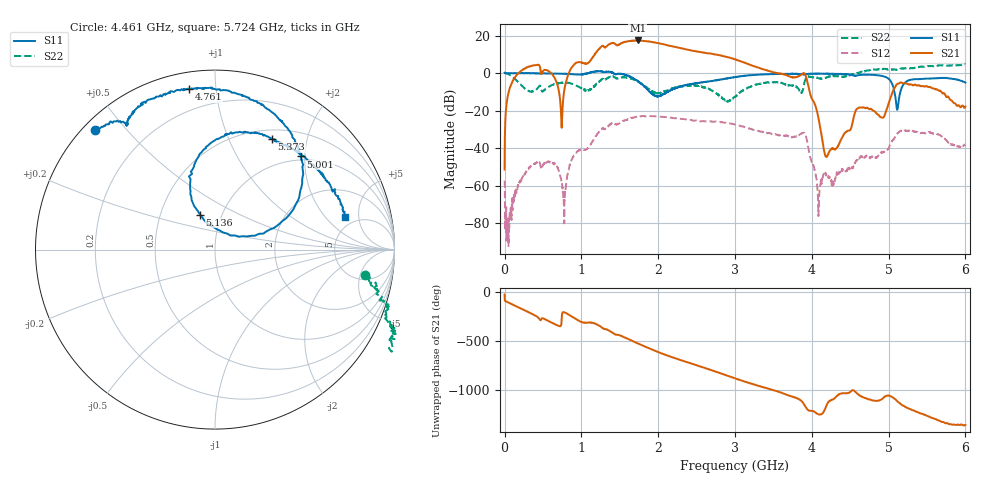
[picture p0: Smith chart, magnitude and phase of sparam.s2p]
#  HZ  S  DB  R  50.0
! Rohde & Schwarz ZVL
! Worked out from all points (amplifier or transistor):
!   2001 points, 9 kHz to 6 GHz, reference 50 ohm
!   highest |S21| = 17.5 dB at 1.734 GHz (marker M1)
!   |S21| within 3 dB of that: 1.331 GHz to 2.165 GHz (834.2 MHz wide, 47.7 % of centre)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
!   unconditionally stable (mu >= 1): 451.6 MHz to 517.7 MHz; 528.3 MHz to 1.061 GHz; 1.809 GHz to 4.578 GHz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
!   at 999 MHz: K = 3.68, MAG = 14.8 dB, |S12| = -40.9 dB
!   at 3 GHz: K = 1.80, MAG = 12.2 dB, |S12| = -27.4 dB
!   at 6 GHz: K = -425.83, MSG = 10.2 dB, |S12| = -38.2 dB
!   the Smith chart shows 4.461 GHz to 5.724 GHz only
!   S11 on the Smith chart (normalised r, x): 4.461 GHz: 0.03, +0.41; 4.761 GHz: 0.09, +0.85; 5.001 GHz: 0.93, +1.92; 5.136 GHz: 0.79, +0.32; 5.373 GHz: 0.61, +1.46; 5.724 GHz: 4.06, +3.29
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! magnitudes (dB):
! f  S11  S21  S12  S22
! 9 kHz  0.3  -51.3  -57.3  0.3
! 48.01 MHz  0.0  -10.8  -78.1  -0.4
! 171 MHz  0.0  -0.4  -59.7  -4.5
! 582 MHz  -0.2  0.9  -47.5  -7.0
! 741 MHz  -0.2  -28.1  -58.9  -5.0
! 783 MHz  -0.4  -7.7  -68.1  -5.0
! 846 MHz  -0.4  1.0  -48.9  -5.2
! 1.002 GHz  -0.8  5.9  -40.9  -7.8
! 1.734 GHz  -4.0  17.5  -23.2  -4.3
! 2.001 GHz  -12.4  16.0  -23.1  -10.7
! 3 GHz  -2.1  7.4  -27.4  -12.5
! 3.891 GHz  -0.6  0.0  -31.8  -7.6
! 4.002 GHz  -0.3  -13.7  -47.8  -2.1
! 4.086 GHz  -0.2  -23.7  -76.2  -2.6
! 4.185 GHz  -0.3  -44.4  -54.6  -2.4
! 4.461 GHz  -0.5  -30.9  -51.6  -1.4
! 4.761 GHz  -0.9  -19.1  -45.2  1.7
! 5.001 GHz  -3.0  -16.0  -40.0  2.0
! 5.136 GHz  -13.4  -5.5  -31.3  2.2
! 5.373 GHz  -3.2  -6.6  -31.4  3.3
! 5.724 GHz  -2.6  -10.8  -35.0  3.9
! 6 GHz  -5.0  -17.8  -38.2  4.7
